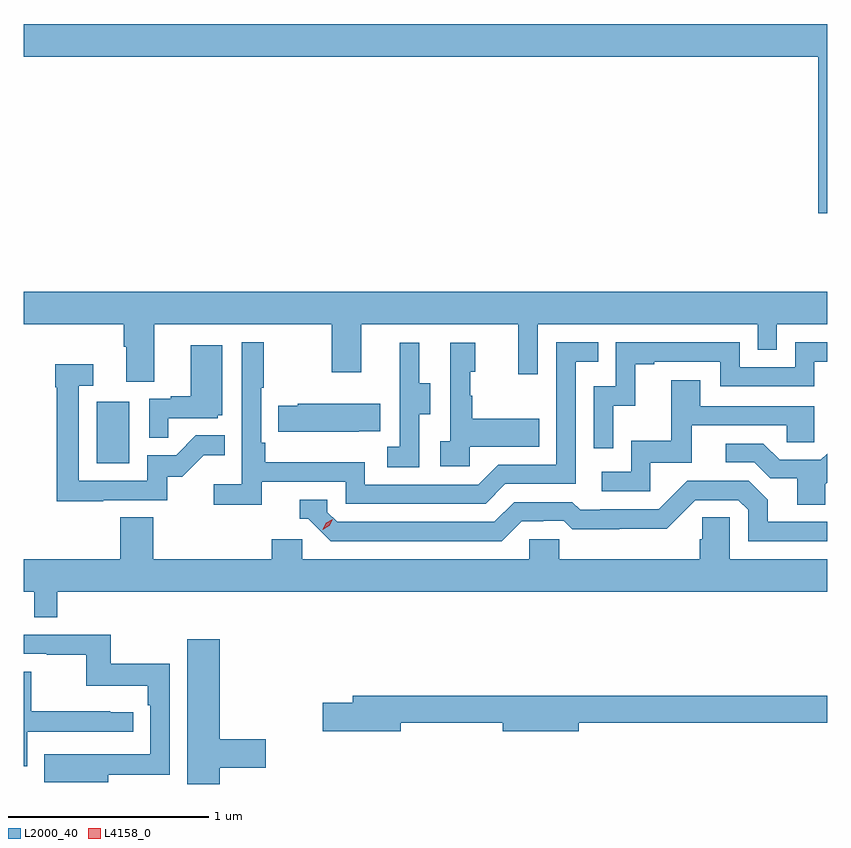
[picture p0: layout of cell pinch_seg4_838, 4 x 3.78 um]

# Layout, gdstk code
import gdstk
lib = gdstk.Library(unit=1e-6, precision=1e-09)
def R(c, l, rs):  # rectangles x0, y0, x1, y1
    for r in rs: c.add(gdstk.rectangle(r[:2], r[2:], *l))
def P(c, l, *ps):  # polygons
    for p in ps: c.add(gdstk.Polygon(p, *l))
L2000_40 = (2000, 40)
L4158_0 = (4158, 0)

pinch_seg4_838 = lib.new_cell('pinch_seg4_838')
R(pinch_seg4_838, L2000_40, [(886.154,797.46,886.318,797.767)])
P(pinch_seg4_838, L2000_40, [(889.792,799.648),(885.792,799.648),(885.792,799.484),(889.748,799.484),(889.748,798.705),(889.792,798.705)],
  [(886.441,798.152),(887.326,798.152),(887.326,797.913),(887.473,797.913),(887.473,798.152),(888.254,798.152),(888.254,797.904),(888.351,797.904),(888.351,798.152),(889.446,798.152),(889.446,798.025),(889.542,798.025),(889.542,798.152),(889.792,798.152),(889.792,798.316),(885.792,798.316),(885.792,798.152),(886.289,798.152),(886.289,798.04),(886.301,798.04),(886.301,797.866),(886.441,797.866)],
  [(886.976,797.37),(887.394,797.37),(887.394,797.259),(888.091,797.259),(888.19,797.358),(888.54,797.358),(888.54,797.967),(888.653,797.967),(888.653,798.063),(888.444,798.063),(888.444,797.454),(888.153,797.454),(888.054,797.355),(887.49,797.355),(887.49,797.467),(886.994,797.467),(886.994,797.563),(886.974,797.563),(886.974,797.836),(886.987,797.836),(886.987,798.064),(886.878,798.064),(886.878,797.356),(886.737,797.356),(886.737,797.254),(886.976,797.254)],
  [(888.726,797.747),(888.836,797.747),(888.836,797.955),(888.931,797.955),(888.931,797.967),(889.26,797.967),(889.26,797.844),(889.728,797.844),(889.728,797.967),(889.792,797.967),(889.792,798.063),(889.632,798.063),(889.632,797.94),(889.356,797.94),(889.356,798.063),(888.738,798.063),(888.738,797.844),(888.63,797.844),(888.63,797.535),(888.726,797.535)],
  [(887.76,797.704),(887.815,797.704),(887.815,797.859),(887.761,797.859),(887.761,798.061),(887.663,798.061),(887.663,797.847),(887.664,797.847),(887.664,797.543),(887.601,797.543),(887.601,797.44),(887.76,797.44)],
  [(888.012,797.543),(888.359,797.543),(888.359,797.683),(888.025,797.683),(888.025,797.798),(888.015,797.798),(888.015,797.916),(888.04,797.916),(888.04,798.061),(887.916,798.061),(887.916,797.57),(887.865,797.57),(887.865,797.445),(888.012,797.445)],
  [(886.511,797.685),(886.758,797.685),(886.758,797.7),(886.78,797.7),(886.78,798.049),(886.622,798.049),(886.622,797.794),(886.523,797.794),(886.523,797.781),(886.416,797.781),(886.416,797.587),(886.511,797.587)],
  [(886.187,797.277),(886.506,797.277),(886.506,797.394),(886.582,797.394),(886.689,797.501),(886.793,797.501),(886.793,797.6),(886.649,797.6),(886.551,797.502),(886.407,797.502),(886.407,797.373),(886.065,797.373),(886.065,797.847),(886.138,797.847),(886.138,797.953),(885.949,797.953),(885.949,797.84),(885.957,797.84),(885.957,797.272),(886.187,797.272)],
  [(888.912,797.463),(889.117,797.463),(889.117,797.649),(889.591,797.649),(889.591,797.565),(889.728,797.565),(889.728,797.745),(889.159,797.745),(889.159,797.875),(889.015,797.875),(889.015,797.572),(888.816,797.572),(888.816,797.418),(888.669,797.418),(888.669,797.322),(888.912,797.322)],
  [(887.459,797.621),(887.567,797.621),(887.567,797.758),(887.157,797.758),(887.157,797.748),(887.059,797.748),(887.059,797.618),(887.459,797.618)],
  [(889.783,797.356),(889.792,797.365),(889.792,797.509),(889.761,797.478),(889.555,797.478),(889.474,797.559),(889.287,797.559),(889.287,797.466),(889.428,797.466),(889.508,797.386),(889.643,797.386),(889.643,797.254),(889.783,797.254)],
  [(888.271,797.172),(888.378,797.172),(888.378,797.175),(888.481,797.175),(888.523,797.133),(888.756,797.133),(888.756,797.135),(888.992,797.135),(889.134,797.277),(889.35,797.277),(889.398,797.229),(889.398,797.073),(889.792,797.073),(889.792,797.169),(889.495,797.169),(889.495,797.279),(889.401,797.373),(889.095,797.373),(888.954,797.232),(888.661,797.232),(888.661,797.229),(888.562,797.229),(888.523,797.268),(888.234,797.268),(888.135,797.169),(887.352,797.169),(887.304,797.217),(887.304,797.28),(887.165,797.28),(887.165,797.184),(887.208,797.184),(887.319,797.073),(888.172,797.073)],
  [(885.959,796.82),(889.792,796.82),(889.792,796.984),(889.308,796.984),(889.308,797.192),(889.171,797.192),(889.171,797.082),(889.157,797.082),(889.157,796.984),(888.459,796.984),(888.459,797.082),(888.309,797.082),(888.309,796.984),(887.178,796.984),(887.178,797.082),(887.027,797.082),(887.027,796.984),(886.436,796.984),(886.436,797.192),(886.271,797.192),(886.271,796.984),(885.792,796.984),(885.792,796.82),(885.843,796.82),(885.843,796.693),(885.959,796.693)],
  [(886.213,795.91),(886.518,795.91),(886.518,796.462),(886.225,796.462),(886.225,796.608),(885.792,796.608),(885.792,796.512),(885.907,796.512),(885.907,796.507),(886.104,796.507),(886.104,796.352),(886.409,796.352),(886.409,796.256),(886.422,796.256),(886.422,796.011),(886.109,796.011),(886.109,796.012),(885.895,796.012),(885.895,795.872),(886.213,795.872)],
  [(886.768,795.946),(886.996,795.946),(886.996,796.088),(886.768,796.088),(886.768,796.585),(886.607,796.585),(886.607,795.864),(886.768,795.864)],
  [(885.81,796.125),(886.336,796.125),(886.336,796.221),(886.223,796.221),(886.223,796.226),(885.83,796.226),(885.83,796.422),(885.792,796.422),(885.792,795.953),(885.81,795.953)],
  [(887.668,796.168),(888.176,796.168),(888.176,796.126),(888.556,796.126),(888.556,796.168),(889.792,796.168),(889.792,796.304),(887.429,796.304),(887.429,796.268),(887.28,796.268),(887.28,796.126),(887.668,796.126)])
P(pinch_seg4_838, L4158_0, [(887.281,797.131),(887.281,797.132),(887.298,797.164),(887.329,797.182),(887.329,797.182),(887.329,797.182),(887.312,797.15),(887.281,797.131)])

lib.write_gds('pinch_seg4_838.gds')
